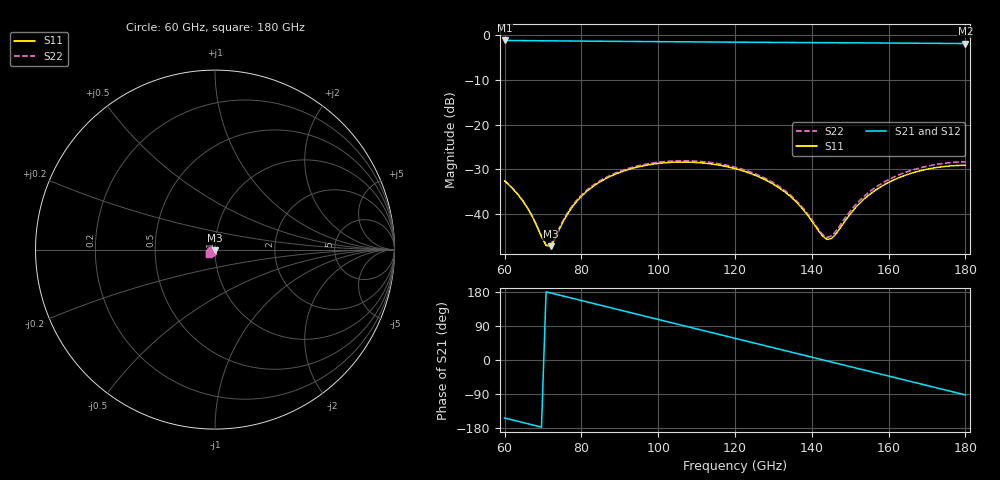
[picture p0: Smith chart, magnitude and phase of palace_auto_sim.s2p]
#  GHZ S DB R 50
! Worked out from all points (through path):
!   101 points, 60 GHz to 180 GHz, reference 50 ohm
!   highest |S21| = -1.26 dB at 60 GHz (marker M1); lowest = -1.9 dB at 180 GHz (marker M2)
!   group delay of S21, straight-line fit = 6.92 ps
!   lowest |S11| = -47.1 dB at 72 GHz (marker M3), VSWR 1.01, Z = 49.9 - j0.424 ohm
!   |S11| at or under -10 dB: start of sweep to end of sweep
!   |S22| runs from -46.8 to -28.1 dB; largest |S21 - S12| = 9.9e-14
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60  -32.57 -163.5  -1.26 -153.1  -1.26 -153.1  -32.49 -163.1
66  -38.66 -169.8  -1.31 -168.1  -1.31 -168.1  -38.60 -169.0
70.8  -46.97 -132.0  -1.34 179.9  -1.34 179.9  -46.80 -129.6
72  -47.11 -105.2  -1.35 176.9  -1.35 176.9  -46.79 -103.1
76.8  -39.38 -65.7  -1.38 164.9  -1.38 164.9  -39.08 -65.0
80.4  -35.66 -67.3  -1.40 155.9  -1.40 155.9  -35.40 -66.7
88.8  -31.08 -84.1  -1.46 135.0  -1.46 135.0  -30.82 -83.3
94.8  -29.45 -98.6  -1.50 120.0  -1.50 120.0  -29.19 -97.6
100.8  -28.60 -113.6  -1.53 105.0  -1.53 105.0  -28.33 -112.4
110.4  -28.49 -137.4  -1.59 81.1  -1.59 81.1  -28.19 -136.0
120  -29.82 -160.5  -1.64 57.2  -1.64 57.2  -29.51 -158.7
126  -31.58 -173.8  -1.67 42.3  -1.67 42.3  -31.25 -171.7
132  -34.42 175.3  -1.70 27.4  -1.70 27.4  -34.09 177.7
136.8  -38.02 171.5  -1.73 15.4  -1.73 15.4  -37.71 174.4
140.4  -41.99 178.7  -1.75 6.5  -1.75 6.5  -41.69 -177.7
142.8  -44.86 -162.5  -1.76 0.5  -1.76 0.5  -44.51 -158.0
144  -45.61 -146.8  -1.76 -2.5  -1.76 -2.5  -45.17 -141.9
145.2  -45.37 -130.0  -1.77 -5.5  -1.77 -5.5  -44.81 -125.2
152.4  -37.61 -96.4  -1.80 -23.4  -1.80 -23.4  -36.99 -92.8
160.8  -32.56 -107.3  -1.85 -44.3  -1.85 -44.3  -31.94 -103.3
170.4  -29.90 -128.2  -1.90 -68.2  -1.90 -68.2  -29.22 -123.2
180  -29.08 -151.1  -1.95 -92.1  -1.95 -92.1  -28.29 -144.8
